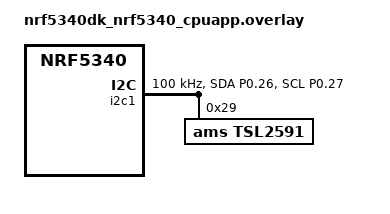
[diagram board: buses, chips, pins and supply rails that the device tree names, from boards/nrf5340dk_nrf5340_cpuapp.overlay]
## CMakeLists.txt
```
cmake_minimum_required(VERSION 3.20.0)

set(CONF_FILE
  "${CMAKE_CURRENT_SOURCE_DIR}/prj.conf"
  "${CMAKE_CURRENT_SOURCE_DIR}/../DTMC_ZEPHYR_SYSTEM_COMMON.conf"
)

find_package(Zephyr REQUIRED HINTS $ENV{ZEPHYR_BASE})

project(app_zephyr)

set(DTCORE_LIBRARY        ${CMAKE_CURRENT_SOURCE_DIR}/../../dtcore_library)
set(DTCORE_TESTS          ${CMAKE_CURRENT_SOURCE_DIR}/../../dtcore_tests)
set(DTMC_BASE_LIBRARY     ${CMAKE_CURRENT_SOURCE_DIR}/../../dtmc_base_library)
set(DTMC_BASE_TESTS       ${CMAKE_CURRENT_SOURCE_DIR}/../../dtmc_base_tests)
set(DTMC_ZEPHYR_LIBRARY  ${CMAKE_CURRENT_SOURCE_DIR}/../../dtmc_zephyr_library)
set(DTMC_ZEPHYR_TESTS    ${CMAKE_CURRENT_SOURCE_DIR}/../../dtmc_zephyr_tests)

# Bring in external object libraries
add_subdirectory(${DTCORE_LIBRARY}        ${CMAKE_BINARY_DIR}/dtcore_library)
add_subdirectory(${DTCORE_TESTS}          ${CMAKE_BINARY_DIR}/dtcore_tests)
add_subdirectory(${DTMC_BASE_LIBRARY}     ${CMAKE_BINARY_DIR}/dtmc_base_library)
add_subdirectory(${DTMC_BASE_TESTS}       ${CMAKE_BINARY_DIR}/dtmc_base_tests)
add_subdirectory(${DTMC_ZEPHYR_LIBRARY}  ${CMAKE_BINARY_DIR}/dtmc_zephyr_library)
add_subdirectory(${DTMC_ZEPHYR_TESTS}    ${CMAKE_BINARY_DIR}/dtmc_zephyr_tests)

target_include_directories(app PRIVATE
    ${DTCORE_LIBRARY}/include
    ${DTCORE_TESTS}/include
    ${DTMC_BASE_LIBRARY}/include
    ${DTMC_BASE_TESTS}/include
    ${DTMC_ZEPHYR_LIBRARY}/include
    ${DTMC_ZEPHYR_TESTS}/include
)

# Use the Zephyr build target (called 'app') – this is created implicitly
target_sources(app PRIVATE
    src/main.c
)
```

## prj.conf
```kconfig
# ---- newlib configuration
CONFIG_NEWLIB_LIBC=y
# without this, PRIu64 doesn't work in printf or printk
CONFIG_NEWLIB_LIBC_NANO=n
# enable float support in printf, adds 1-2kB to the binary
CONFIG_NEWLIB_LIBC_FLOAT_PRINTF=y

# ---- console configuration
CONFIG_STDOUT_CONSOLE=y
CONFIG_SERIAL=y
CONFIG_CONSOLE=y
CONFIG_UART_CONSOLE=y

# ---- logging
CONFIG_LOG=y
CONFIG_LOG_BACKEND_SHOW_COLOR=n
CONFIG_LOG_MODE_IMMEDIATE=y
CONFIG_LOG_DEFAULT_LEVEL=3

# ---- memory configuration
# our dtlog uses at least 1k
CONFIG_MAIN_STACK_SIZE=4096
CONFIG_HEAP_MEM_POOL_SIZE=32768

# ---- kernel configuration
CONFIG_EVENTS=y
CONFIG_KERNEL_SHELL=y

# ---- system clock configuration
# makes Zephyr tick every 1 ms instead of the default 100 Hz (10 ms)
CONFIG_SYS_CLOCK_EXISTS=y
CONFIG_SYS_CLOCK_TICKS_PER_SEC=1000

# ---- thread monitoring and analysis
# CONFIG_THREAD_ANALYZER selects INIT_STACKS, THREAD_MONITOR, THREAD_STACK_INFO, THREAD_RUNTIME_STATS
CONFIG_THREAD_ANALYZER=y
CONFIG_THREAD_NAME=y
CONFIG_THREAD_ANALYZER_AUTO=n

# ==== stack overflow detection and diagnostics
CONFIG_STACK_SENTINEL=y
CONFIG_STACK_CANARIES=y

# ---- bluetooth configuration
# see DTMC_ZEPHYR_RPC_HOST_COMMON.conf included by CMakeLists.txt

# ---- CoAP configuration
# see DTMC_ZEPHYR_OPENTHREAD_COAP_COMMON.conf included by CMakeLists.txt

# ---- I2C and TSL2591 light sensor
CONFIG_TSL2591=y
CONFIG_SENSOR=y
```

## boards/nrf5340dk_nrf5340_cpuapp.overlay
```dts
/* free the conflicting block if board dts enabled it */
&i2c0 { status = "disabled"; };

/* pins can stay the same; instances are not tied to pins */
&pinctrl {
    i2c1_default: i2c1_default {
        group1 {
            psels = <NRF_PSEL(TWIM_SDA, 0, 26)>,
                    <NRF_PSEL(TWIM_SCL, 0, 27)>;
        };
    };
    i2c1_sleep: i2c1_sleep {
        group1 {
            psels = <NRF_PSEL(TWIM_SDA, 0, 26)>,
                    <NRF_PSEL(TWIM_SCL, 0, 27)>;
            low-power-enable;
        };
    };
};

&i2c1 {
    status = "okay";
    compatible = "nordic,nrf-twim";
    pinctrl-0 = <&i2c1_default>;
    pinctrl-1 = <&i2c1_sleep>;
    pinctrl-names = "default", "sleep";
    clock-frequency = <I2C_BITRATE_STANDARD>;

    tsl: tsl2591@29 {
        compatible = "ams,tsl2591";
        reg = <0x29>;
        label = "TSL2591";
    };
};

/* keep the alias your C expects */
 / {
     aliases { lightsensor = &tsl; };
 };
```

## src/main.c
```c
#include <dtcore/dterr.h>

#include <dtcore_tests.h>
#include <dtmc_base_tests.h>
#include <dtmc_zephyr_tests.h>

int
main(int argc, char* argv[])
{
    dtunittest_control_t unittest_control = { 0 };
    unittest_control.should_print_suites = true;
    unittest_control.should_print_tests = false;
    unittest_control.should_print_errors = true;

    if (argc > 1)
    {
        unittest_control.pattern = argv[1];
    }

    // if (unittest_control.pattern == NULL)
    //     unittest_control.pattern = "busywork";

    test_dtmc_zephyr_sensors_matching(&unittest_control);

    // print summary as final line of test output
    dtunittest_print_final(&unittest_control);

    int rc = 0;
    if (unittest_control.total_fail_count > 0)
        rc = 1;

    return rc;
}
```
